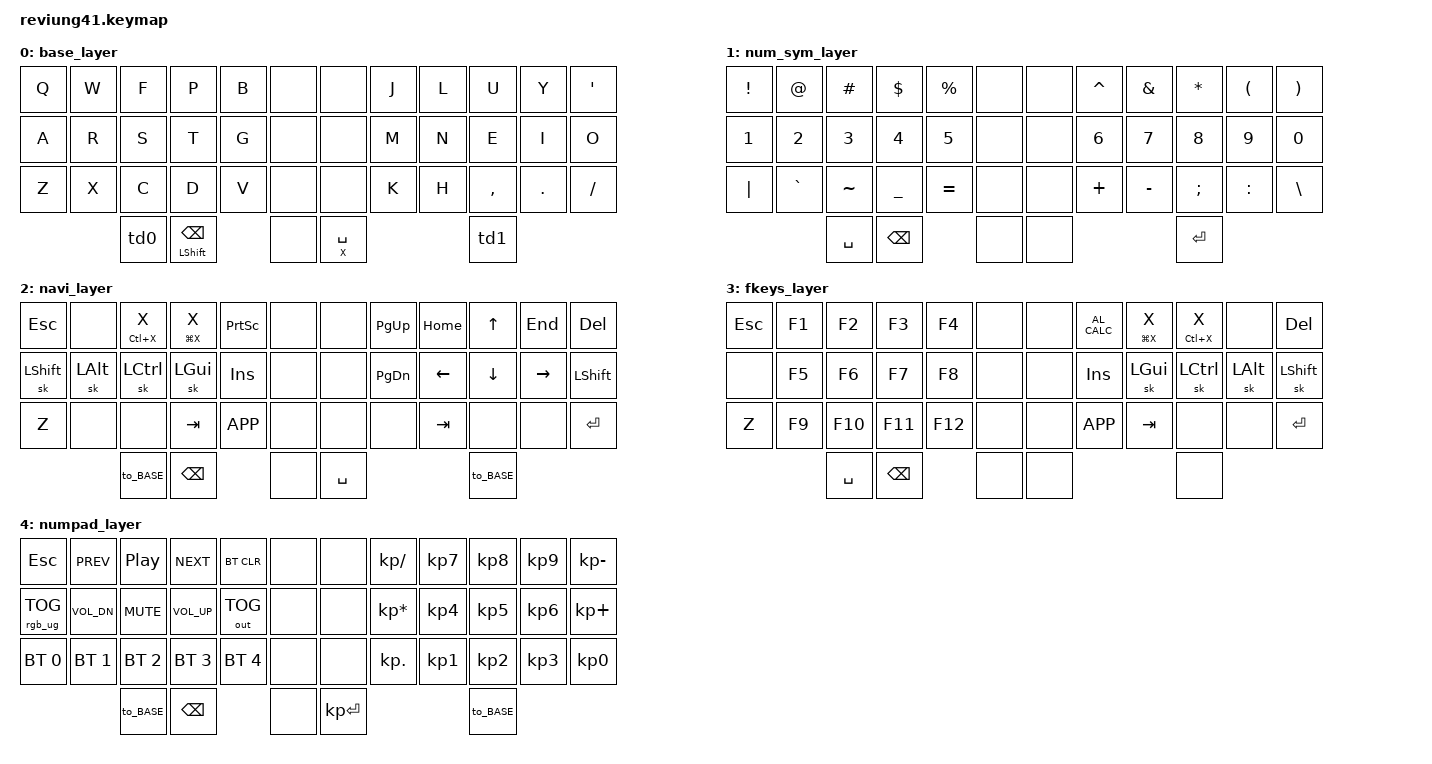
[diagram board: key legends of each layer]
/*
 * Copyright (c) 2020 The ZMK Contributors
 *
 * SPDX-License-Identifier: MIT
 */
#include <behaviors.dtsi>
#include <dt-bindings/zmk/keys.h>
#include <dt-bindings/zmk/bt.h>
#include <dt-bindings/zmk/rgb.h>
#include <dt-bindings/zmk/outputs.h>

#define _BASE    0
#define _NUM_SYM 1
#define _NAVI    2
#define _FKEYS   3
#define _NUMPAD  4

// &led_strip { chain-length = <1>; };

/ {
    macros {
        to_BASE: to_BASE {
            label = "ZM_to_BASE";
            compatible = "zmk,behavior-macro";
            #binding-cells = <0>;
            wait-ms = <0>;
            tap-ms = <0>;
            bindings
                = <&rgb_ug RGB_COLOR_HSB(15,95,2)>
                , <&to _BASE>
                ;
        };

        to_NAVI: to_NAVI {
            label = "ZM_to_NAVI";
            compatible = "zmk,behavior-macro";
            #binding-cells = <0>;
            wait-ms = <0>;
            tap-ms = <0>;
            bindings
                = <&rgb_ug RGB_COLOR_HSB(80,100,3)>
                , <&to _NAVI>
                ;
        };

        mo_NAVI: mo_NAVI {
            label = "ZM_mo_NAVI";
            compatible = "zmk,behavior-macro";
            #binding-cells = <0>;
            wait-ms = <0>;
            tap-ms = <0>;
            bindings
                = <&macro_tap &rgb_ug RGB_COLOR_HSB(80,100,3)>
                , <&macro_press &mo _NAVI>
                , <&macro_pause_for_release>
                , <&macro_tap &rgb_ug RGB_COLOR_HSB(15,95,2)>
                , <&macro_release &mo _NAVI>
                ;
        };

        mo_NUM_SYM: mo_NUM_SYM {
            label = "ZM_mo_NUM_SYM";
            compatible = "zmk,behavior-macro";
            #binding-cells = <0>;
            wait-ms = <0>;
            tap-ms = <0>;
            bindings
                = <&macro_tap &rgb_ug RGB_COLOR_HSB(10,75,2)>
                , <&macro_press &mo _NUM_SYM>
                , <&macro_pause_for_release>
                , <&macro_tap &rgb_ug RGB_COLOR_HSB(15,95,2)>
                , <&macro_release &mo _NUM_SYM>
                ;
        };

        mo_FKEYS: mo_FKEYS {
            label = "ZM_mo_FKEYS";
            compatible = "zmk,behavior-macro";
            #binding-cells = <0>;
            wait-ms = <0>;
            tap-ms = <0>;
            bindings
                = <&macro_tap &rgb_ug RGB_COLOR_HSB(300,100,3)>
                , <&macro_press &mo _FKEYS>
                , <&macro_pause_for_release>
                , <&macro_tap &rgb_ug RGB_COLOR_HSB(15,95,2)>
                , <&macro_release &mo _FKEYS>
                ;
        };

        to_NUMPAD: to_NUMPAD {
            label = "ZM_to_NUMPAD";
            compatible = "zmk,behavior-macro";
            #binding-cells = <0>;
            wait-ms = <0>;
            tap-ms = <0>;
            bindings
                = <&rgb_ug RGB_COLOR_HSB(200,100,3)>
                , <&to _NUMPAD>
                ;
        };

        to_BOOT: to_BOOT {
            label = "ZM_to_BOOT";
            compatible = "zmk,behavior-macro";
            #binding-cells = <0>;
            bindings
                = <&rgb_ug RGB_COLOR_HSB(0,100,100)>
                , <&rgb_ug RGB_ON>
                , <&bootloader>
                ;
        };
    };
};

/ {
    combos {
        compatible = "zmk,combos";
        combo_RESET {
            timeout-ms = <50>;
            key-positions = <36 40>;
            bindings = <&rch A A>;
            layers = <_NUMPAD>;
        };

        combo_LPAR {
            timeout-ms = <30>;
            key-positions = <14 15>;
            bindings = <&kp LPAR>;
            layers = <_BASE _NUM_SYM>;
        };

        combo_RPAR {
            timeout-ms = <30>;
            key-positions = <20 21>;
            bindings = <&kp RPAR>;
            layers = <_BASE _NUM_SYM>;
        };

        combo_LBRC {
            timeout-ms = <30>;
            key-positions = <2 3>;
            bindings = <&kp LBRC>;
            layers = <_BASE _NUM_SYM>;
        };

        combo_RBRC {
            timeout-ms = <30>;
            key-positions = <8 9>;
            bindings = <&kp RBRC>;
            layers = <_BASE _NUM_SYM>;
        };

        combo_LBKT {
            timeout-ms = <30>;
            key-positions = <26 27>;
            bindings = <&kp LBKT>;
            layers = <_BASE _NUM_SYM>;
        };

        combo_RBKT {
            timeout-ms = <30>;
            key-positions = <32 33>;
            bindings = <&kp RBKT>;
            layers = <_BASE _NUM_SYM>;
        };

        combo_LT {
            timeout-ms = <30>;
            key-positions = <13 14>;
            bindings = <&kp LT>;
            layers = <_BASE _NUM_SYM>;
        };

        combo_GT {
            timeout-ms = <30>;
            key-positions = <21 22>;
            bindings = <&kp GT>;
            layers = <_BASE _NUM_SYM>;
        };
    };
};

&sk {
    quick-release;
};

/ {
    behaviors {
        td0: tap_dance_0 {
            compatible = "zmk,behavior-tap-dance";
            label = "LOCK_NAVI";
            #binding-cells = <0>;
            tapping-term-ms = <400>;
            bindings = <&mo_NAVI>, <&to_NAVI>;
        };
 
        td1: tap_dance_1 {
            compatible = "zmk,behavior-tap-dance";
            label = "LOCK_NUMPAD";
            #binding-cells = <0>;
            tapping-term-ms = <400>;
            bindings = <&mo_FKEYS>, <&to_NUMPAD>;
        };

        td3: tap_dance_3 {
            compatible = "zmk,behavior-tap-dance";
            label = "CTRL_COPY_PASTA";
            #binding-cells = <0>;
            tapping-term-ms = <400>;
            bindings = <&kp LC(C)>, <&kp LC(V)>;
        };

        td4: tap_dance_4 {
            compatible = "zmk,behavior-tap-dance";
            label = "GUI_COPY_PASTA";
            #binding-cells = <0>;
            tapping-term-ms = <400>;
            bindings = <&kp LG(C)>, <&kp LG(V)>;
        };

        ctrl_x: ctrl_x {
                compatible = "zmk,behavior-hold-tap";
                label = "CTRL_CUT_HOLD";
                #binding-cells = <2>;
                flavor = "tap-preferred";
                tapping-term-ms = <400>;
                bindings = <&kp>, <&td3>;
        };

        gui_x: gui_x {
                compatible = "zmk,behavior-hold-tap";
                label = "GUI_CUT_HOLD";
                #binding-cells = <2>;
                flavor = "tap-preferred";
                tapping-term-ms = <400>;
                bindings = <&kp>, <&td4>;
        };

        gqt: global-quick-tap {
                compatible = "zmk,behavior-hold-tap";
                label = "GLOBAL_QUICK_TAP";
                #binding-cells = <2>;
                flavor = "balanced";
                tapping-term-ms = <200>;
                quick-tap-ms = <100>;
                global-quick-tap;
                bindings = <&kp>, <&kp>;
        };

        spctap: space-tap {
                compatible = "zmk,behavior-hold-tap";
                label = "SPACE_TAP_MO_SYM_HOLD";
                #binding-cells = <2>;
                flavor = "balanced";
                tapping-term-ms = <200>;
                quick-tap-ms = <100>;
                global-quick-tap;
                bindings = <&mo_NUM_SYM>, <&kp>;
        };

        rch: reset-combo-hold {
                compatible = "zmk,behavior-hold-tap";
                label = "RESET_COMBO_HOLD";
                #binding-cells = <2>;
                flavor = "tap-preferred";
                tapping-term-ms = <3000>;
                bindings = <&to_BOOT>, <&sys_reset>;
        };
    };

        keymap {
                compatible = "zmk,keymap";

                base_layer {
// ---------------------------------------------------------------------------
// |  Q  |  W  |  F  |  P  |  B  |    |   |    |  J  |  L  |  U  |  Y  |  '  |
// |  A  |  R  |  S  |  T  |  G  |    |   |    |  M  |  N  |  E  |  I  |  O  |
// |  Z  |  X  |  C  |  D  |  V  |    |   |    |  K  |  H  |  ,  |  .  |  /  |
//             | _NAVI | SHIFT(BKSPC) |   | _NUM_SYM(SPC) | _FKEYS(_NUMPAD) |
                        bindings = <
   &kp Q &kp W &kp F &kp P &kp B &none      &none &kp J &kp L &kp U     &kp Y   &kp SQT
   &kp A &kp R &kp S &kp T &kp G &none      &none &kp M &kp N &kp E     &kp I   &kp O
   &kp Z &kp X &kp C &kp D &kp V &none      &none &kp K &kp H &kp COMMA &kp DOT &kp FSLH
                &td0 &gqt LSHIFT BSPC &none &spctap X SPACE &td1
                        >;
                };

                num_sym_layer {
// ---------------------------------------------------------------------------
// |  !  |  @  |  #  |  $  |  %  |    |   |    |  ^  |  &  |  *  |  (  |  )  |
// |  1  |  2  |  3  |  4  |  5  |    |   |    |  6  |  7  |  8  |  9  |  0  |
// | "|" |  `  |  ~  |  _  |  =  |    |   |    |  +  |  -  |  ;  |  :  |  \  |
//                    | SPACE | BKSPC |   |      | RET |
                        bindings = <
   &kp EXCL &kp AT    &kp HASH  &kp DLLR  &kp PRCNT &none      &none &kp CARET &kp AMPS  &kp ASTRK &kp LPAR  &kp RPAR
   &kp N1   &kp N2    &kp N3    &kp N4    &kp N5    &none      &none &kp N6    &kp N7    &kp N8    &kp N9    &kp N0
   &kp PIPE &kp GRAVE &kp TILDE &kp UNDER &kp EQUAL &none      &none &kp PLUS  &kp MINUS &kp SEMI  &kp COLON &kp BSLH
                                      &kp SPACE &kp BSPC &none &none &kp RET
                        >;
                };

                navi_layer {
// -----------------------------------------------------------------------------------------
// | ESC    |      | c,v,x | c,v,x | PRSC |    |   |    | PGUP | HOME |  UP  | END  | DEL   |
// | sSHIFT | sALT | sCTRL | sGUI  | INS  |    |   |    | PGDN | LEFT | DOWN | RGHT | SHIFT |
// |   Z    |      |       | TAB   | APP  |    |   |    |      | TAB  |      |      | RET   |
//                             | _BASE | BKSPC |   | SPACE | _BASE |
                        bindings = <
   &kp ESC    &none    &ctrl_x LC(X) X &gui_x LG(X) X &kp PSCRN &none      &none &kp PG_UP &kp HOME &kp UP   &kp END   &kp DEL
   &sk LSHIFT &sk LALT &sk LCTRL       &sk LGUI       &kp INS   &none      &none &kp PG_DN &kp LEFT &kp DOWN &kp RIGHT &kp LSHIFT
   &kp Z      &none    &none           &kp TAB        &kp K_APP &none      &none &none     &kp TAB  &none    &none     &kp RET
                                       &to_BASE &kp BSPC &none &kp SPACE &to_BASE
                        >;
                };

                fkeys_layer {
// -----------------------------------------------------------------------------------
// | ESC | F1 | F2  | F3  | F4  |    |   |    | CALC | c,v,x | c,v,x |      |  DEL   |
// |     | F5 | F6  | F7  | F8  |    |   |    | INS  | sGUI  | sCTRL | sALT | sSHIFT |
// |  Z  | F9 | F10 | F11 | F12 |    |   |    | APP  |  TAB  |       |      |  RET   |
//                   | SPACE | BKSPC |   |       |      |
                        bindings = <
   &kp ESC &kp F1 &kp F2  &kp F3  &kp F4  &none      &none &kp C_AL_CALC &gui_x LG(X) X &ctrl_x LC(X) X &none    &kp DEL
   &none   &kp F5 &kp F6  &kp F7  &kp F8  &none      &none &kp INS       &sk LGUI       &sk LCTRL       &sk LALT &sk LSHIFT
   &kp Z   &kp F9 &kp F10 &kp F11 &kp F12 &none      &none &kp K_APP     &kp TAB        &none           &none    &kp RET
                               &kp SPACE &kp BSPC &none &none &none
                        >;
                };

                numpad_layer {
// ---------------------------------------------------------------------------------------
// | ESC     | PREV | PLAYP | NEXT | BT CLR  |    |   |    |  /  |  7  |  8  |  9  |  -  |
// | RGB_TOG | VOL- | MUTE  | VOL+ | OUT_TOG |    |   |    |  *  |  4  |  5  |  6  |  +  |
// | BT1     | BT2  | BT3   | BT4  | BT5     |    |   |    |  .  |  1  |  2  |  3  |  0  |
//                                | _BASE | BKSPC |   | ENTER | _BASE |
                        bindings = <
   &kp ESC         &kp C_PREV   &kp C_PP     &kp C_NEXT   &bt BT_CLR    &none      &none  &kp KP_DIVIDE    &kp KP_N7  &kp KP_N8  &kp KP_N9  &kp KP_MINUS
   &rgb_ug RGB_TOG &kp C_VOL_DN &kp C_MUTE   &kp C_VOL_UP &out OUT_TOG  &none      &none  &kp KP_MULTIPLY  &kp KP_N4  &kp KP_N5  &kp KP_N6  &kp KP_PLUS
   &bt BT_SEL 0    &bt BT_SEL 1 &bt BT_SEL 2 &bt BT_SEL 3 &bt BT_SEL 4  &none      &none  &kp KP_DOT       &kp KP_N1  &kp KP_N2  &kp KP_N3  &kp KP_N0
                                                        &to_BASE &kp BSPC &none &kp KP_ENTER &to_BASE
                        >;
                };
        };
};
